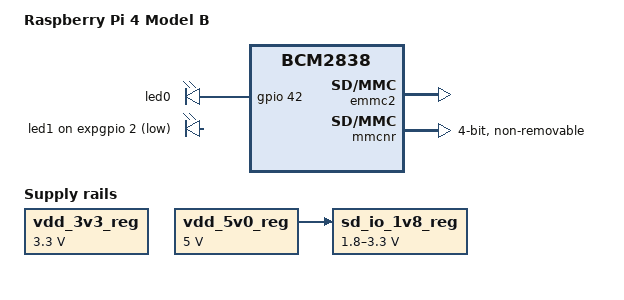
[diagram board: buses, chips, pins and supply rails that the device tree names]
/dts-v1/;

//#include "bcm2711.dtsi"
#include "bcm271x.dtsi" // clocks, dma, gpio
#include "bcm2711-scb.dtsi" 

#include <dt-bindings/gpio/gpio.h>
#include <dt-bindings/interrupt-controller/arm-gic.h>
#include <dt-bindings/interrupt-controller/irq.h>
#include "dt-bindings/power/raspberrypi-power.h"
#include <dt-bindings/soc/bcm2835-pm.h>

// /memreserve/ 0x00000000 0x00001000;
// /memreserve/	0x0000000000000000 0x0000000000001000;
/ {
	compatible = "raspberrypi,4-model-b", "brcm,bcm2838";
	model = "Raspberry Pi 4 Model B";

	chosen {
		bootargs = "coherent_pool=1M 8250.nr_uarts=1 cma=64M";
		stdout-path = "serial1:115200n8";
	};

	arm-pmu {
		compatible = "arm,cortex-a72-pmu", "arm,cortex-a53-pmu";
        interrupts = <GIC_SPI 16 IRQ_TYPE_LEVEL_HIGH >, 
                     <GIC_SPI 17 IRQ_TYPE_LEVEL_HIGH >, 
                     <GIC_SPI 18 IRQ_TYPE_LEVEL_HIGH >, 
                     <GIC_SPI 19 IRQ_TYPE_LEVEL_HIGH >;
	};

	timer {
		compatible = "arm,armv7-timer";
		interrupts = <GIC_PPI 13 (GIC_CPU_MASK_SIMPLE(4) | IRQ_TYPE_LEVEL_LOW)>,
                     <GIC_PPI 14 (GIC_CPU_MASK_SIMPLE(4) | IRQ_TYPE_LEVEL_LOW)>,
                     <GIC_PPI 11 (GIC_CPU_MASK_SIMPLE(4) | IRQ_TYPE_LEVEL_LOW)>,
                     <GIC_PPI 10 (GIC_CPU_MASK_SIMPLE(4) | IRQ_TYPE_LEVEL_LOW)>;
		arm,cpu-registers-not-fw-configured;
		always-on;
	};

	cpus {
		#address-cells = <1>;
		#size-cells = <0>;
		enable-method = "brcm,bcm2836-smp"; // for ARM 32-bit
		// phandle = < 0xba >;

		cpu@0 {
			device_type = "cpu";
			compatible = "arm,cortex-a72";
			reg = <0>;
			enable-method = "spin-table";
			cpu-release-addr = <0x0 0x000000d8>;
			// phandle = < 0xbb >;
		};

		cpu@1 {
			device_type = "cpu";
			compatible = "arm,cortex-a72";
			reg = <1>;
			enable-method = "spin-table";
			cpu-release-addr = <0x0 0x000000e0>;
			// phandle = < 0xbc >;
		};

		cpu@2 {
			device_type = "cpu";
			compatible = "arm,cortex-a72";
			reg = <2>;
			enable-method = "spin-table";
			cpu-release-addr = <0x0 0x000000e8>;
			// phandle = < 0xbd >;
		};

		cpu@3 {
			device_type = "cpu";
			compatible = "arm,cortex-a72";
			reg = <3>;
			enable-method = "spin-table";
			cpu-release-addr = <0x0 0x000000f0>;
			// phandle = < 0xbe >;
		};
	};

	soc {
		compatible = "simple-bus";
		#address-cells = <1>;
		#size-cells = <1>;

		ranges = < 0x7e000000 0x00 0xfe000000 0x1800000 0x7c000000 0x00 0xfc000000 0x2000000 0x40000000 0x00 0xff800000 0x800000 >;
		dma-ranges = < 0xc0000000 0x00 0x00 0x3c000000 >;

		// phandle = < 0x31 >;

   		local_intc: local_intc@40000000 {
			compatible = "brcm,bcm2836-l1-intc";
			reg = < 0x40000000 0x100 >;
			// phandle = < 0xa5 >;
		};

		firmware: firmware {
			compatible = "raspberrypi,bcm2835-firmware", "simple-bus";
			#address-cells = <0>;
			#size-cells = <0>;
			mboxes = <&mailbox>;
			// phandle = < 0x07 >;

			expgpio: gpio {
				compatible = "raspberrypi,firmware-gpio";
				gpio-controller;
				#gpio-cells = <2>;
				gpio-line-names = "BT_ON", 
						"WL_ON", 
						"PWR_LED_OFF", 
						"GLOBAL_RESET", 
						"VDD_SD_IO_SEL", 
						"CAM_GPIO", "\0";
				status = "okay";
				// phandle = < 0x2e >;
			};
		};

		firmwarekms@7e600000 {
			compatible = "raspberrypi,rpi-firmware-kms";
			reg = < 0x7e600000 0x100 >;
			interrupts = <GIC_SPI 112 IRQ_TYPE_LEVEL_HIGH>;
			brcm,firmware = <&firmware>;
			status = "disabled";
			// phandle = < 0xb4 >;
		};

        power: power {
			compatible = "raspberrypi,bcm2835-power";
			firmware = <&firmware>;
			#power-domain-cells = <1>;
			// phandle = < 0x11 >;
		};

		csi0: csi@7e800000 {
			compatible = "brcm,bcm2835-unicam";
			reg = < 0x7e800000 0x800 0x7e802000 0x04 >;
			interrupts = <GIC_SPI 102 IRQ_TYPE_LEVEL_HIGH>;
			clocks = <&clocks BCM2835_CLOCK_CAM0>;
			clock-names = "clk_cam0";
			#address-cells = <1>;
			#size-cells = <0>;
			#clock-cells = <1>;
			status = "disabled";
			power-domains = <&power RPI_POWER_DOMAIN_UNICAM0>;
			// phandle = < 0x9e >;
		};

		csi1: csi@7e801000 {
			compatible = "brcm,bcm2835-unicam";
			reg = < 0x7e801000 0x800 0x7e802004 0x04 >;
			interrupts = <GIC_SPI 103 IRQ_TYPE_LEVEL_HIGH>;
			clocks = <&clocks BCM2835_CLOCK_CAM1>;
			clock-names = "clk_cam1";
			#address-cells = <1>;
			#size-cells = <0>;
			#clock-cells = <1>;
			status = "disabled";
			power-domains = <&power RPI_POWER_DOMAIN_UNICAM1>;
			// phandle = < 0x9f >;

			port {

				endpoint {
					data-lanes = < 0x01 0x02 >;
				};
			};
		};

		gicv2: gic400@40041000 {
			interrupt-controller;
			#interrupt-cells = <3>;
			compatible = "arm,gic-400";
			reg = < 0x40041000 0x1000 >,
			      < 0x40042000 0x2000 >, 
				  < 0x40044000 0x2000 >,
				  < 0x40046000 0x2000 >;
			// phandle = < 0x01 >;
		};

		emmc2: emmc2@7e340000 {
			compatible = "brcm,bcm2711-emmc2";
			status = "okay";
			interrupts = <GIC_SPI 126 IRQ_TYPE_LEVEL_HIGH>;
			clocks = <&clocks 0x33 >; // TODO: 51 is not defined yet.... emmc2
			reg = < 0x7e340000 0x100 >;
			broken-cd;
			vqmmc-supply = <&sd_io_1v8_reg>;
			// phandle = < 0xb3 >;
		};

		mmc: mmc@7e300000 {
			compatible = "brcm,bcm2835-mmc", "brcm,bcm2835-sdhci";
			reg = < 0x7e300000 0x100 >;
			interrupts = <GIC_SPI 126 IRQ_TYPE_LEVEL_HIGH>;
			clocks = <&clocks BCM2835_CLOCK_EMMC>;
			dmas = <&dma 11>;
			dma-names = "rx-tx";
			brcm,overclock-50 = < 0x00 >;
			status = "disabled";
			pinctrl-names = "default";
			pinctrl-0 = <&emmc_gpio48>;
			bus-width = < 0x04 >;
			// phandle = < 0x29 >;
		};

		mmcnr: mmcnr@7e300000 {
			compatible = "brcm,bcm2835-mmc", "brcm,bcm2835-sdhci";
			reg = < 0x7e300000 0x100 >;
			interrupts = <GIC_SPI 126 IRQ_TYPE_LEVEL_HIGH>;
			clocks = <&clocks BCM2835_CLOCK_EMMC>;
			dmas = <&dma 11>;
			dma-names = "rx-tx";
			brcm,overclock-50 = < 0x00 >;
			non-removable;
			status = "okay";
			pinctrl-names = "default";
			pinctrl-0 = <&sdio_pins>;
			bus-width = < 0x04 >;
			// phandle = < 0x2a >;
		};

		smi: smi@7e600000 {
			compatible = "brcm,bcm2835-smi";
			reg = < 0x7e600000 0x100 >;
			interrupts = <GIC_SPI 112 IRQ_TYPE_LEVEL_HIGH>;
			clocks = <&clocks BCM2835_CLOCK_SMI>;
			assigned-clocks = <&clocks BCM2835_CLOCK_SMI>;
			assigned-clock-rates = <125000000>;
			dmas = <&dma 4>;
			dma-names = "rx-tx";
			status = "disabled";
			// phandle = < 0xb5 >;
		};

		axiperf: axiperf {
			compatible = "brcm,bcm2835-axiperf";
			reg = < 0x7e009800 0x100 0x7ee08000 0x100 >;
			firmware = <&firmware>;
			status = "disabled";
			// phandle = < 0x2b >;
		};

		gpiomem {
			compatible = "brcm,bcm2835-gpiomem";
			reg = < 0x7e200000 0x1000 >;
		};

		fb: fb {
			compatible = "brcm,bcm2708-fb";
			firmware = <&firmware>;
			status = "okay";
			// phandle = < 0xb6 >;
		};

		vcsm: vcsm {
			compatible = "raspberrypi,bcm2835-vcsm";
			firmware = <&firmware>;
			status = "okay";
			// phandle = < 0xb7 >;
		};

		audio: audio {
			compatible = "brcm,bcm2835-audio";
			brcm,pwm-channels = < 0x08 >;
			status = "disabled";
			pinctrl-names = "default";
			pinctrl-0 = <&audio_pins>;
			// phandle = < 0x26 >;
		};

		sound: sound {
			status = "disabled";
			// phandle = < 0xb8 >;
		};

		virtgpio: virtgpio {
			compatible = "brcm,bcm2835-virtgpio";
			gpio-controller;
			#gpio-cells = <2>;
			firmware = <&firmware>;
			status = "okay";
			// phandle = < 0xb9 >;
		};
	};

	v3dbus {
		compatible = "simple-bus";
		#address-cells = <1>;
		#size-cells = <1>;
		ranges = < 0x7c500000 0x00 0xfc500000 0x3300000 0x40000000 0x00 0xff800000 0x800000 >;
		dma-ranges = < 0x00 0x00 0x00 0x3c000000 >;

		v3d: v3d@7ec04000 {
			compatible = "brcm,2711-v3d";
			reg = < 0x7ec00000 0x4000 0x7ec04000 0x4000 >;
			reg-names = "hub", "core0";
			power-domains = <&pm BCM2835_RESET_V3D>;
			resets = <&pm BCM2835_POWER_DOMAIN_GRAFX>;
			clocks = <&clocks BCM2835_CLOCK_V3D>;
			interrupts = <GIC_SPI 74 IRQ_TYPE_LEVEL_HIGH>;
			status = "disabled";
			// phandle = < 0xbf >;
		};
	};

	memory {
		device_type = "memory";
		reg = < 0x00 0x00 0x40000000 >;
	};

	leds: leds {
		compatible = "gpio-leds";
		// phandle = < 0xc5 >;

		act {
			label = "led0";
			default-state = "keep";
			linux,default-trigger = "mmc0";
			gpios = <&gpio 42 GPIO_ACTIVE_HIGH>; 
			// phandle = < 0x2c >;
		};

		pwr {
			label = "led1";
			linux,default-trigger = "default-on";
			gpios = <&expgpio 2 GPIO_ACTIVE_LOW>;
			// phandle = < 0x2d >;
		};
	};

	vdd_3v3_reg: fixedregulator_3v3 {
		compatible = "regulator-fixed";
		regulator-name = "3v3";
		regulator-min-microvolt = <3300000>;
		regulator-max-microvolt = <3300000>;
		regulator-always-on;
		// phandle = < 0xc6 >;
	};

	vdd_5v0_reg: fixedregulator_5v0 {
		compatible = "regulator-fixed";
		regulator-name = "5v0";
		regulator-min-microvolt = <5000000>;
		regulator-max-microvolt = <5000000>;
		regulator-always-on;
		// phandle = < 0x2f >;
	};

	sd_io_1v8_reg: sd_io_1v8_reg {
		status = "okay";
		compatible = "regulator-gpio";
		vin-supply = <&vdd_5v0_reg>;
		regulator-name = "vdd-sd-io";
		regulator-min-microvolt = <1800000>;
		regulator-max-microvolt = <3300000>;
		regulator-boot-on;
		regulator-always-on;
		regulator-settling-time-us = <5000>;
		gpios = <&expgpio 4 GPIO_ACTIVE_HIGH>;
		states = < 1800000 1 3300000 0 >;
		// phandle = < 0x18 >;
	};
};
